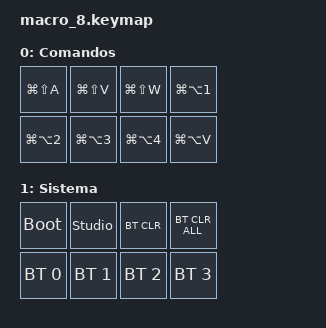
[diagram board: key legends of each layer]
#include <behaviors.dtsi>
#include <dt-bindings/zmk/keys.h>
#include <dt-bindings/zmk/bt.h>

/ {
    combos {
        compatible = "zmk,combos";

        combo_system_layer {
            timeout-ms = <70>;
            require-prior-idle-ms = <100>;
            key-positions = <0 7>;
            layers = <0>;
            bindings = <&sl 1>;
        };
    };

    keymap {
        compatible = "zmk,keymap";

        base_layer {
            display-name = "Comandos";

            bindings = <
                /* 0 */ &kp LG(LS(A))      /* Silenciar/activar micrófono */
                /* 1 */ &kp LG(LS(V))      /* Activar/desactivar video */
                /* 2 */ &kp LG(LS(W))      /* Cambiar vista */
                /* 3 */ &kp LG(LA(N1))     /* Escena Espera */

                /* 4 */ &kp LG(LA(N2))     /* Escena Lado */
                /* 5 */ &kp LG(LA(N3))     /* Escena Cenital */
                /* 6 */ &kp LG(LA(N4))     /* Escena Virtual */
                /* 7 */ &kp LG(LA(V))      /* Mostrar/ocultar teclado virtual */
            >;
        };

        system_layer {
            display-name = "Sistema";

            bindings = <
                /* 0 */ &bootloader        /* Bootloader */
                /* 1 */ &studio_unlock     /* Desbloquear ZMK Studio */
                /* 2 */ &bt BT_CLR         /* Borrar perfil BT actual */
                /* 3 */ &bt BT_CLR_ALL     /* Borrar todos los perfiles BT */

                /* 4 */ &bt BT_SEL 0       /* Bluetooth perfil 0 */
                /* 5 */ &bt BT_SEL 1       /* Bluetooth perfil 1 */
                /* 6 */ &bt BT_SEL 2       /* Bluetooth perfil 2 */
                /* 7 */ &bt BT_SEL 3       /* Bluetooth perfil 3 */
            >;
        };
    };
};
